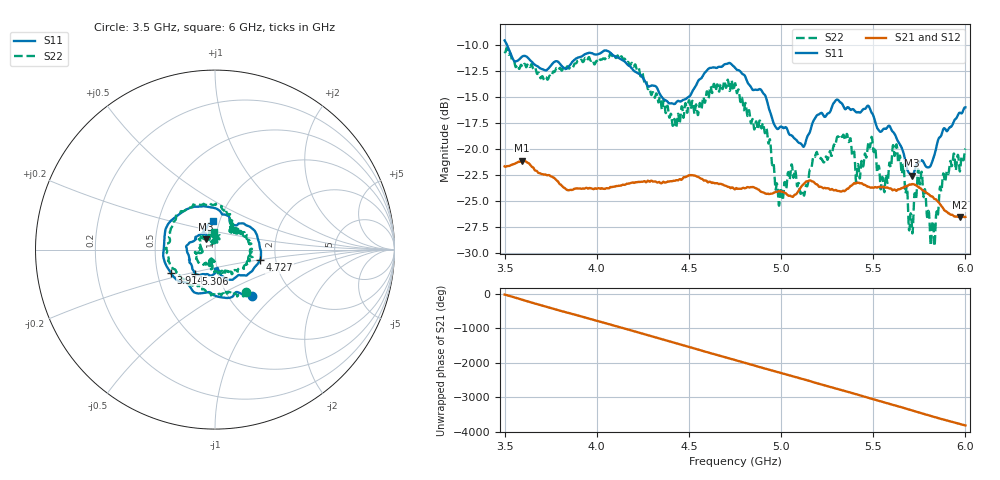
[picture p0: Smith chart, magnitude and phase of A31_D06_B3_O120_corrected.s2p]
! Created with skrf 1.9.0 (http://scikit-rf.org).
# Hz S RI R 50.0
!freq ReS11 ImS11 ReS21 ImS21 ReS12 ImS12 ReS22 ImS22
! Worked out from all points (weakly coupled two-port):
!   1601 points, 3.5 GHz to 6 GHz, reference 50 ohm
!   highest |S21| = -21.10 dB at 3.594 GHz (marker M1); lowest = -26.5 dB at 5.97 GHz (marker M2)
!   lowest |S11| = -22.5 dB at 5.711 GHz (marker M3), VSWR 1.16, Z = 45.1 + j5.12 ohm
!   |S11| at or under -10 dB: 3.514 GHz to end of sweep
!   |S22| runs from -29.3 to -10.3 dB; largest |S21 - S12| = 0.00093
!   S11 on the Smith chart (normalised r, x): 3.5 GHz: 1.28, -0.75; 3.914 GHz: 0.59, -0.16; 4.727 GHz: 1.66, -0.20; 5.306 GHz: 0.78, -0.22; 6 GHz: 0.93, +0.30
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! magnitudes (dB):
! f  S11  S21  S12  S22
! 3.5 GHz  -9.5  -21.7  -21.6  -10.6
! 3.594 GHz  -11.1  -21.1  -21.1  -12.0
! 3.914 GHz  -11.1  -23.8  -23.8  -11.4
! 3.917 GHz  -11.1  -23.8  -23.8  -11.4
! 4.142 GHz  -11.5  -23.4  -23.4  -11.4
! 4.334 GHz  -14.4  -23.2  -23.1  -15.5
! 4.422 GHz  -15.6  -23.0  -23.0  -17.1
! 4.727 GHz  -11.8  -23.7  -23.6  -13.9
! 4.75 GHz  -12.2  -23.9  -23.8  -13.7
! 4.912 GHz  -14.8  -24.2  -24.2  -18.5
! 4.997 GHz  -17.8  -24.0  -24.0  -23.9
! 5.167 GHz  -17.7  -23.1  -23.0  -21.6
! 5.306 GHz  -15.2  -24.0  -23.9  -18.8
! 5.416 GHz  -16.4  -23.2  -23.2  -21.5
! 5.584 GHz  -17.7  -23.7  -23.7  -21.9
! 5.634 GHz  -19.2  -23.9  -23.8  -21.1
! 5.711 GHz  -22.5  -23.4  -23.3  -27.8
! 5.753 GHz  -21.2  -23.7  -23.7  -23.4
! 5.823 GHz  -21.0  -24.6  -24.6  -26.9
! 5.872 GHz  -18.5  -25.5  -25.4  -23.8
! 5.97 GHz  -16.5  -26.5  -26.5  -22.1
! 6 GHz  -16.0  -26.5  -26.4  -19.9
